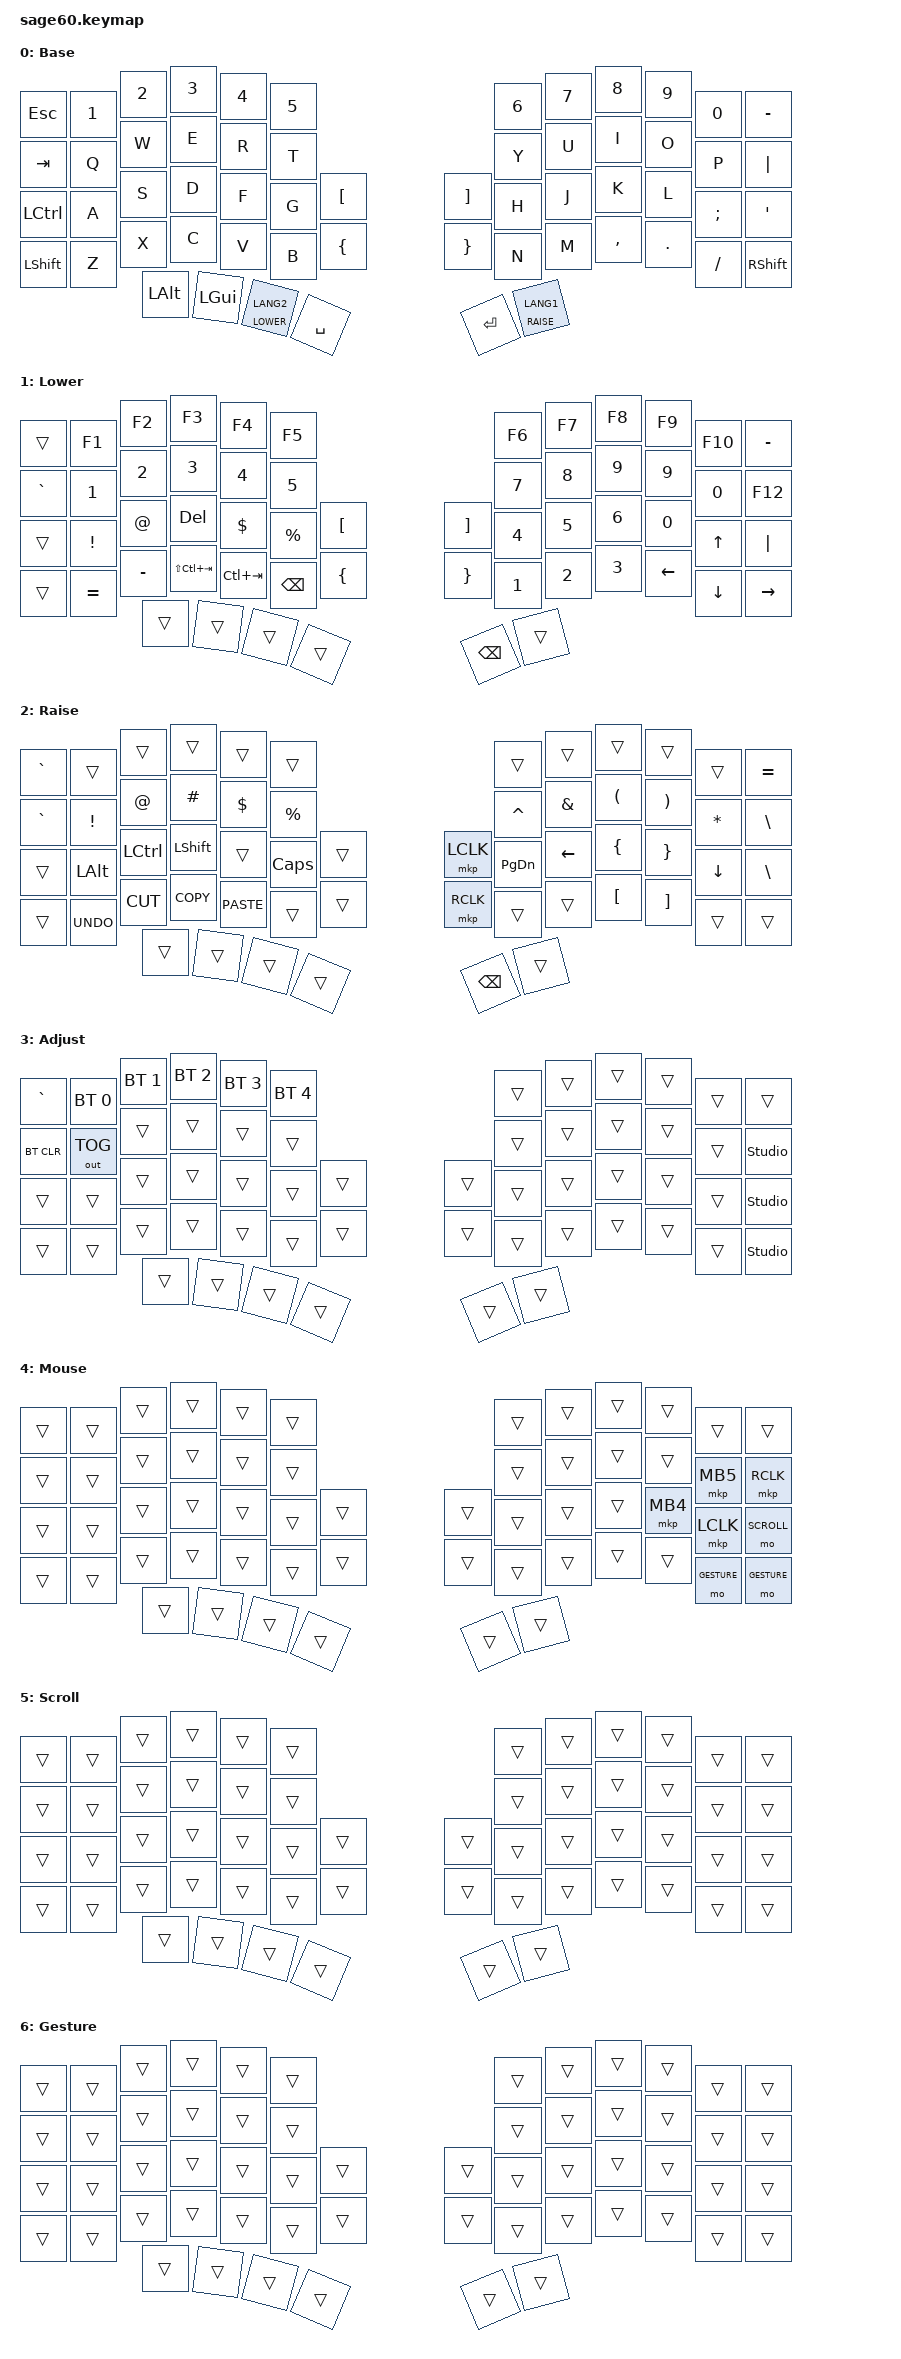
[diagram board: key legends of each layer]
/*
 * Copyright (c) 2026 Diwamoto_
 * SPDX-License-Identifier: MIT
 *
 * Sage60 MX default keymap (58 keys).
 * Key order matches default_transform, left to right as the keys sit:
 *   rows 0-1: 6 + 6
 *   rows 2-3: 6 + inner key | inner key + 6
 *   thumbs:   left 4 (outer -> inner) | right 2 (inner -> outer)
 */

#include <behaviors.dtsi>
#include <dt-bindings/zmk/keys.h>
#include <dt-bindings/zmk/bt.h>
#include <dt-bindings/zmk/outputs.h>
#include <dt-bindings/zmk/pointing.h>

#define DEFAULT 0
#define LOWER   1
#define RAISE   2
#define ADJUST  3
#define MOUSE   4   /* MOUSE, SCROLL and GESTURE are also used in sage60_left.overlay */
#define SCROLL  5
#define GESTURE 6   /* held: ball up = Mission Control, down = Esc (sage60_left.overlay) */

/ {
    conditional_layers {
        compatible = "zmk,conditional-layers";
        adjust {
            if-layers = <LOWER RAISE>;
            then-layer = <ADJUST>;
        };
    };

    keymap {
        compatible = "zmk,keymap";

        default_layer {
            display-name = "Base";
            bindings = <
&kp ESC    &kp N1    &kp N2    &kp N3    &kp N4    &kp N5                          &kp N6    &kp N7    &kp N8    &kp N9    &kp N0     &kp MINUS
&kp TAB    &kp Q     &kp W     &kp E     &kp R     &kp T                           &kp Y     &kp U     &kp I     &kp O     &kp P      &kp PIPE
&kp LCTRL  &kp A     &kp S     &kp D     &kp F     &kp G     &kp LBKT    &kp RBKT  &kp H     &kp J     &kp K     &kp L     &kp SEMI   &kp SQT
&kp LSHFT  &kp Z     &kp X     &kp C     &kp V     &kp B     &kp LBRC    &kp RBRC  &kp N     &kp M     &kp COMMA &kp DOT   &kp FSLH   &kp RSHFT
                     &kp LALT  &kp LGUI  &lt LOWER LANG2 &kp SPACE                 &kp ENTER &lt RAISE LANG1
            >;
        };

        lower_layer {
            display-name = "Lower";
            bindings = <
&trans     &kp F1    &kp F2    &kp F3    &kp F4    &kp F5                          &kp F6    &kp F7    &kp F8    &kp F9    &kp F10    &kp MINUS
&kp GRAVE  &kp N1    &kp N2    &kp N3    &kp N4    &kp N5                          &kp N7    &kp N8    &kp N9    &kp N9    &kp N0     &kp F12
&trans     &kp EXCL  &kp AT    &kp DEL   &kp DLLR  &kp PRCNT &kp LBKT    &kp RBKT  &kp N4    &kp N5    &kp N6    &kp N0    &kp UP     &kp PIPE
&trans     &kp EQUAL &kp MINUS &kp LS(LC(TAB)) &kp LC(TAB) &kp BSPC &kp LBRC &kp RBRC &kp N1 &kp N2    &kp N3    &kp LEFT  &kp DOWN   &kp RIGHT
                     &trans    &trans    &trans    &trans                          &kp BSPC  &trans
            >;
        };

        raise_layer {
            display-name = "Raise";
            bindings = <
&kp GRAVE  &trans     &trans    &trans     &trans      &trans                      &trans    &trans    &trans    &trans    &trans     &kp EQUAL
&kp GRAVE  &kp EXCL   &kp AT    &kp HASH   &kp DLLR    &kp PRCNT                   &kp CARET &kp AMPS  &kp LPAR  &kp RPAR  &kp ASTRK  &kp BSLH
&trans     &kp LALT   &kp LCTRL &kp LSHFT  &trans      &kp CLCK  &trans  &mkp LCLK &kp PG_DN &kp LEFT  &kp LBRC  &kp RBRC  &kp DOWN   &kp BSLH
&trans     &kp K_UNDO &kp K_CUT &kp K_COPY &kp K_PASTE &trans    &trans  &mkp RCLK &trans    &trans    &kp LBKT  &kp RBKT  &trans     &trans
                      &trans    &trans     &trans      &trans                      &kp BSPC  &trans
            >;
        };

        adjust_layer {
            display-name = "Adjust";
            bindings = <
&kp GRAVE  &bt BT_SEL 0 &bt BT_SEL 1 &bt BT_SEL 2 &bt BT_SEL 3 &bt BT_SEL 4        &trans    &trans    &trans    &trans    &trans     &trans
&bt BT_CLR &out OUT_TOG &trans  &trans    &trans    &trans                         &trans    &trans    &trans    &trans    &trans     &studio_unlock
&trans     &trans    &trans    &trans    &trans    &trans    &trans      &trans    &trans    &trans    &trans    &trans    &trans     &studio_unlock
&trans     &trans    &trans    &trans    &trans    &trans    &trans      &trans    &trans    &trans    &trans    &trans    &trans     &studio_unlock
                     &trans    &trans    &trans    &trans                          &trans    &trans
            >;
        };

        mouse_layer {
            display-name = "Mouse";
            bindings = <
&trans     &trans    &trans    &trans    &trans    &trans                          &trans    &trans    &trans    &trans    &trans     &trans
&trans     &trans    &trans    &trans    &trans    &trans                          &trans    &trans    &trans    &trans    &mkp MB5   &mkp RCLK
&trans     &trans    &trans    &trans    &trans    &trans    &trans      &trans    &trans    &trans    &trans    &mkp MB4  &mkp LCLK  &mo SCROLL
&trans     &trans    &trans    &trans    &trans    &trans    &trans      &trans    &trans    &trans    &trans    &trans    &mo GESTURE &mo GESTURE
                     &trans    &trans    &trans    &trans                          &trans    &trans
            >;
        };

        scroll_layer {
            display-name = "Scroll";
            bindings = <
&trans     &trans    &trans    &trans    &trans    &trans                          &trans    &trans    &trans    &trans    &trans     &trans
&trans     &trans    &trans    &trans    &trans    &trans                          &trans    &trans    &trans    &trans    &trans     &trans
&trans     &trans    &trans    &trans    &trans    &trans    &trans      &trans    &trans    &trans    &trans    &trans    &trans     &trans
&trans     &trans    &trans    &trans    &trans    &trans    &trans      &trans    &trans    &trans    &trans    &trans    &trans     &trans
                     &trans    &trans    &trans    &trans                          &trans    &trans
            >;
        };

        gesture_layer {
            display-name = "Gesture";
            bindings = <
&trans     &trans    &trans    &trans    &trans    &trans                          &trans    &trans    &trans    &trans    &trans     &trans
&trans     &trans    &trans    &trans    &trans    &trans                          &trans    &trans    &trans    &trans    &trans     &trans
&trans     &trans    &trans    &trans    &trans    &trans    &trans      &trans    &trans    &trans    &trans    &trans    &trans     &trans
&trans     &trans    &trans    &trans    &trans    &trans    &trans      &trans    &trans    &trans    &trans    &trans    &trans     &trans
                     &trans    &trans    &trans    &trans                          &trans    &trans
            >;
        };
    };
};
